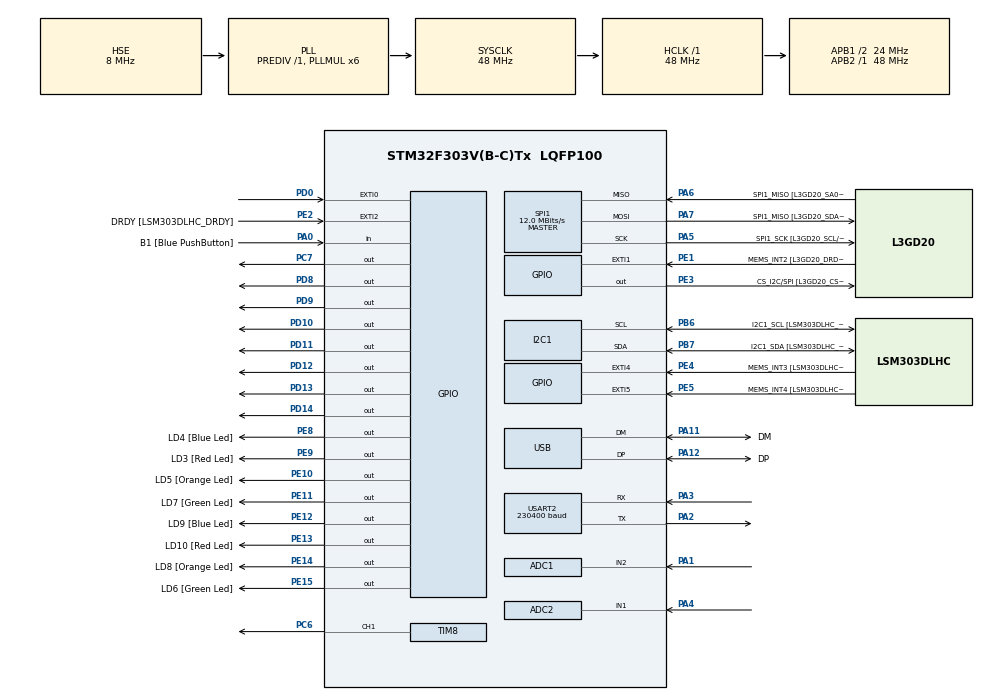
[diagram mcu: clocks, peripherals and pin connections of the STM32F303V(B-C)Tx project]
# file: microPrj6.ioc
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ADC1.Channel-0\#ChannelRegularConversion=ADC_CHANNEL_2
ADC1.ClockPrescaler=ADC_CLOCK_SYNC_PCLK_DIV4
ADC1.NbrOfConversionFlag=1
ADC1.Offset-0\#ChannelRegularConversion=0
ADC1.OffsetNumber-0\#ChannelRegularConversion=ADC_OFFSET_NONE
ADC1.Rank-0\#ChannelRegularConversion=1
ADC1.SamplingTime-0\#ChannelRegularConversion=ADC_SAMPLETIME_601CYCLES_5
ADC1.SamplingTimeOPAMP-0\#ChannelRegularConversion=ADC_SAMPLETIME_19CYCLES_5
ADC1.master=1
ADC2.Channel-0\#ChannelRegularConversion=ADC_CHANNEL_1
ADC2.ClockPrescaler=ADC_CLOCK_SYNC_PCLK_DIV4
ADC2.NbrOfConversionFlag=1
ADC2.Offset-0\#ChannelRegularConversion=0
ADC2.OffsetNumber-0\#ChannelRegularConversion=ADC_OFFSET_NONE
ADC2.Rank-0\#ChannelRegularConversion=1
ADC2.SamplingTime-0\#ChannelRegularConversion=ADC_SAMPLETIME_601CYCLES_5
ADC2.SamplingTimeOPAMP-0\#ChannelRegularConversion=ADC_SAMPLETIME_19CYCLES_5
I2C1.Timing-I2C=0x2000090E
Mcu.Family=STM32F3
Mcu.Name=STM32F303V(B-C)Tx
Mcu.Package=LQFP100
NVIC.ADC1_2_IRQn=true\:1\:0\:true\:false\:true\:true\:true\:true
NVIC.EXTI0_IRQn=true\:1\:0\:true\:false\:true\:true\:true\:true
NVIC.PriorityGroup=NVIC_PRIORITYGROUP_2
NVIC.TIM1_UP_TIM16_IRQn=true\:1\:0\:true\:false\:true\:true\:true\:true
NVIC.TIM4_IRQn=true\:1\:0\:true\:false\:true\:true\:true\:true
NVIC.TIM6_DAC_IRQn=true\:2\:0\:true\:false\:true\:true\:true\:true
NVIC.TIM7_IRQn=true\:1\:0\:true\:false\:true\:true\:true\:true
PA0.GPIO_Label=B1 [Blue PushButton]
PA0.Signal=GPIO_Input
PA1.Mode=IN2-Single-Ended
PA1.Signal=ADC1_IN2
PA11.GPIO_Label=DM
PA11.Mode=Device
PA11.Signal=USB_DM
PA12.GPIO_Label=DP
PA12.Mode=Device
PA12.Signal=USB_DP
PA13.GPIO_Label=SWDIO
PA13.Mode=Serial_Wire
PA13.Signal=SYS_JTMS-SWDIO
PA14.GPIO_Label=SWCLK
PA14.Mode=Serial_Wire
PA14.Signal=SYS_JTCK-SWCLK
PA2.Mode=Asynchronous
PA2.Signal=USART2_TX
PA3.Mode=Asynchronous
PA3.Signal=USART2_RX
PA4.Mode=IN1-Single-Ended
PA4.Signal=ADC2_IN1
PA5.GPIO_Label=SPI1_SCK [L3GD20_SCL/SPC]
PA5.Mode=Full_Duplex_Master
PA5.Signal=SPI1_SCK
PA6.GPIO_Label=SPI1_MISO [L3GD20_SA0/SDO]
PA6.Mode=Full_Duplex_Master
PA6.Signal=SPI1_MISO
PA7.GPIO_Label=SPI1_MISO [L3GD20_SDA/SDI/SDO]
PA7.Mode=Full_Duplex_Master
PA7.Signal=SPI1_MOSI
PB3.GPIO_Label=SWO
PB3.Signal=SYS_JTDO-TRACESWO
PB6.GPIO_Label=I2C1_SCL [LSM303DLHC_SCL]
PB6.GPIO_Pu=GPIO_PULLUP
PB6.Mode=I2C
PB6.Signal=I2C1_SCL
PB7.GPIO_Label=I2C1_SDA [LSM303DLHC_SDA]
PB7.GPIO_Pu=GPIO_PULLUP
PB7.Mode=I2C
PB7.Signal=I2C1_SDA
PC14-OSC32_IN.GPIO_Label=OSC32_IN
PC14-OSC32_IN.Signal=RCC_OSC32_IN
PC15-OSC32_OUT.GPIO_Label=OSC32_OUT
PC15-OSC32_OUT.Signal=RCC_OSC32_OUT
PC6.Signal=S_TIM8_CH1
PC7.Signal=GPIO_Output
PD0.GPIO_PuPd=GPIO_PULLDOWN
PD0.Signal=GPXTI0
PD10.Signal=GPIO_Output
PD11.Signal=GPIO_Output
PD12.Signal=GPIO_Output
PD13.Signal=GPIO_Output
PD14.Signal=GPIO_Output
PD8.Signal=GPIO_Output
PD9.Signal=GPIO_Output
PE1.GPIO_Label=MEMS_INT2 [L3GD20_DRDY/INT2]
PE1.GPIO_ModeDefaultEXTI=GPIO_MODE_EVT_RISING
PE1.Signal=GPXTI1
PE10.GPIO_Label=LD5 [Orange Led]
PE10.Signal=GPIO_Output
PE11.GPIO_Label=LD7 [Green Led]
PE11.Signal=GPIO_Output
PE12.GPIO_Label=LD9 [Blue Led]
PE12.Signal=GPIO_Output
PE13.GPIO_Label=LD10 [Red Led]
PE13.Signal=GPIO_Output
PE14.GPIO_Label=LD8 [Orange Led]
PE14.Signal=GPIO_Output
PE15.GPIO_Label=LD6 [Green Led]
PE15.Signal=GPIO_Output
PE2.GPIO_Label=DRDY [LSM303DLHC_DRDY]
PE2.GPIO_ModeDefaultEXTI=GPIO_MODE_EVT_RISING
PE2.Signal=GPXTI2
PE3.GPIO_Label=CS_I2C/SPI [L3GD20_CS_I2C/SPI]
PE3.Signal=GPIO_Output
PE4.GPIO_Label=MEMS_INT3 [LSM303DLHC_INT1]
PE4.GPIO_ModeDefaultEXTI=GPIO_MODE_EVT_RISING
PE4.Signal=GPXTI4
PE5.GPIO_Label=MEMS_INT4 [LSM303DLHC_INT2]
PE5.GPIO_ModeDefaultEXTI=GPIO_MODE_EVT_RISING
PE5.Signal=GPXTI5
PE8.GPIO_Label=LD4 [Blue Led]
PE8.Signal=GPIO_Output
PE9.GPIO_Label=LD3 [Red Led]
PE9.Signal=GPIO_Output
PF0-OSC_IN.GPIO_Label=OSC_IN
PF0-OSC_IN.Mode=HSE-External-Clock-Source
PF0-OSC_IN.Signal=RCC_OSC_IN
PF1-OSC_OUT.GPIO_Label=OSC_OUT
PF1-OSC_OUT.Signal=RCC_OSC_OUT
ProjectManager.HeapSize=0x200
ProjectManager.StackSize=0x400
ProjectManager.TargetToolchain=STM32CubeIDE
RCC.AHBFreq_Value=48000000
RCC.APB1CLKDivider=RCC_HCLK_DIV2
RCC.APB1Freq_Value=24000000
RCC.APB1TimFreq_Value=48000000
RCC.APB2Freq_Value=48000000
RCC.APB2TimFreq_Value=48000000
RCC.CortexFreq_Value=48000000
RCC.HCLKFreq_Value=48000000
RCC.HSE_VALUE=8000000
RCC.HSI_VALUE=8000000
RCC.LSE_VALUE=32768
RCC.PLLMUL=RCC_PLL_MUL6
RCC.SYSCLKFreq_VALUE=48000000
RCC.SYSCLKSourceVirtual=RCC_SYSCLKSOURCE_PLLCLK
RCC.USBFreq_Value=48000000
RTC.AsynchPrediv=39
RTC.SynchPrediv=999
SH.S_TIM8_CH1.0=TIM8_CH1,PWM Generation1 CH1
SPI1.BaudRatePrescaler=SPI_BAUDRATEPRESCALER_4
SPI1.BaudRatePrescaler-Full_Duplex_Master=SPI_BAUDRATEPRESCALER_2
SPI1.CalculateBaudRate=12.0 MBits/s
SPI1.CalculateBaudRate-Full_Duplex_Master=24.0 MBits/s
SPI1.Direction=SPI_DIRECTION_2LINES
SPI1.Mode=SPI_MODE_MASTER
SPI1.Mode-Full_Duplex_Master=SPI_MODE_MASTER
SPI1.VirtualType=VM_MASTER
TIM16.Period=9999
TIM16.Prescaler=14399
TIM4.Period=14399
TIM4.Prescaler=9999
TIM6.Period=9999
TIM6.Prescaler=47999
TIM7.Period=999
TIM7.Prescaler=47999
TIM8.Channel-PWM\ Generation1\ CH1=TIM_CHANNEL_1
USART2.BaudRate=230400
USART2.VirtualMode-Asynchronous=VM_ASYNC
VP_RTC_VS_RTC_Activate.Mode=RTC_Enabled
VP_RTC_VS_RTC_Calendar.Mode=RTC_Calendar
VP_TIM16_VS_ClockSourceINT.Mode=Enable_Timer
VP_TIM4_VS_ClockSourceINT.Mode=Internal
VP_TIM6_VS_ClockSourceINT.Mode=Enable_Timer
VP_TIM7_VS_ClockSourceINT.Mode=Enable_Timer
VP_TIM8_VS_ClockSourceINT.Mode=Internal
board=STM32F3DISCOVERY

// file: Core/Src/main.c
/* USER CODE BEGIN Header */
/**
 ******************************************************************************
 * @file           : main.c
 * @brief          : Main program body
 ******************************************************************************
 * @attention
 *
 * Copyright (c) 2022 STMicroelectronics.
 * All rights reserved.
 *
 * This software is licensed under terms that can be found in the LICENSE file
 * in the root directory of this software component.
 * If no LICENSE file comes with this software, it is provided AS-IS.
 *
 ******************************************************************************
 */
/* USER CODE END Header */
#include "main.h"

/* USER CODE BEGIN Includes */
#include <stdio.h>
#include <string.h>
#include <stdbool.h>
#include "LiquidCrystal.h"
/* USER CODE END Includes */

/* USER CODE BEGIN PTD */
typedef unsigned char byte;

enum logType {
	lightLow, lightHigh, motion, temperatureRaise
};

typedef struct {
	RTC_DateTypeDef date;
	RTC_TimeTypeDef time;
	enum logType type;

} log;
/* USER CODE END PTD */

/* USER CODE BEGIN PD */
#define LCD_D8 GPIO_PIN_8
#define LCD_D9 GPIO_PIN_9
#define LCD_D10 GPIO_PIN_10
#define LCD_D11 GPIO_PIN_11
#define LCD_D12 GPIO_PIN_12
#define LCD_D13 GPIO_PIN_13
#define LCD_D14 GPIO_PIN_14

/* USER CODE END PD */

/* USER CODE BEGIN PM */
#define LOG_BUFFER_SIZE 100
#define TEMPERATUER_LIGHT_FILTERING_SAMPLE_NUM 128
#define ADC_DELAY 1
/* USER CODE END PM */

ADC_HandleTypeDef hadc1;
ADC_HandleTypeDef hadc2;

I2C_HandleTypeDef hi2c1;

RTC_HandleTypeDef hrtc;

SPI_HandleTypeDef hspi1;

TIM_HandleTypeDef htim4;
TIM_HandleTypeDef htim6;
TIM_HandleTypeDef htim7;
TIM_HandleTypeDef htim8;
TIM_HandleTypeDef htim16;

UART_HandleTypeDef huart2;

PCD_HandleTypeDef hpcd_USB_FS;

/* USER CODE BEGIN PV */

uint_fast16_t temperatureSamplingArr[TEMPERATUER_LIGHT_FILTERING_SAMPLE_NUM];
uint_fast16_t lightSamplingArr[TEMPERATUER_LIGHT_FILTERING_SAMPLE_NUM];

RTC_TimeTypeDef rtcTime;
RTC_DateTypeDef rtcDate;

uint_fast32_t temperatureSamplingIdx = 0;
uint_fast32_t sum = 25 * TEMPERATUER_LIGHT_FILTERING_SAMPLE_NUM;
uint_fast32_t temperatueRawValue, lightRawValue;
uint_fast32_t lastTemperature = 0;
uint_fast32_t newLight = 0;
uint_fast32_t lastLight = 0;
uint_fast32_t newTemperature;
uint_fast32_t normalTemperature;
uint_fast32_t normalLight;
uint_fast32_t temperatureSamplingSum = 25 * TEMPERATUER_LIGHT_FILTERING_SAMPLE_NUM,
		lightSamplingSum = 30 * TEMPERATUER_LIGHT_FILTERING_SAMPLE_NUM;
uint_fast32_t lightSamplingIdx = 0;

bool buzzerOn = false;
bool warning = false;

log logBuffer[LOG_BUFFER_SIZE];
uint_fast32_t logIdx = 0;

TIM_HandleTypeDef *buzzerPwmTimer = &htim8;
uint32_t buzzerPwmChannel = TIM_CHANNEL_1;

byte black[8] = { 0x1F, 0x1F, 0x1F, 0x1F, 0x1F, 0x1F, 0x1F, 0x1F };
byte barEmpty[8] = { 0x1F, 0x00, 0x00, 0x00, 0x00, 0x00, 0x00, 0x1F };
byte barStart[8] = { 0x1F, 0x10, 0x10, 0x10, 0x10, 0x10, 0x10, 0x1F };
byte barEnd[8] = { 0x1F, 0x01, 0x01, 0x01, 0x01, 0x01, 0x01, 0x1F };

byte sunCenter[8] = { 0B00100, 0B01110, 0B10001, 0B10001, 0B10001, 0B01110, 0B00100, 0B00000 };
byte sunShineRight[8] = { 0x08, 0x10, 0x00, 0x1E, 0x00, 0x10, 0x08, 0x00 };
byte sunShineLeft[8] = { 0x02, 0x01, 0x00, 0x0F, 0x00, 0x01, 0x02, 0x00 };

byte thermometer[8] = { 0x00, 0x06, 0x06, 0x06, 0x06, 0x09, 0x09, 0x06 };
byte degree[8] = { 0x00, 0x07, 0x05, 0x07, 0x00, 0x00, 0x00, 0x00 };
/* USER CODE END PV */

void SystemClock_Config(void);
static void MX_GPIO_Init(void);
static void MX_I2C1_Init(void);
static void MX_SPI1_Init(void);
static void MX_USB_PCD_Init(void);
static void MX_RTC_Init(void);
static void MX_USART2_UART_Init(void);
static void MX_TIM6_Init(void);
static void MX_TIM8_Init(void);
static void MX_ADC1_Init(void);
static void MX_ADC2_Init(void);
static void MX_TIM7_Init(void);
static void MX_TIM4_Init(void);
static void MX_TIM16_Init(void);
/* USER CODE BEGIN PFP */
void buzzerChangeTone(uint16_t freq, uint16_t volume);
void printDateTime();
void updateLight();
void updateTemperature();
void warningOn();
void warningOff();
/* USER CODE END PFP */

int main(void) {

	/* MCU Configuration--------------------------------------------------------*/

	/* Reset of all peripherals, Initializes the Flash interface and the Systick. */
	HAL_Init();

	/* Configure the system clock */
	SystemClock_Config();

	/* Initialize all configured peripherals */
	MX_GPIO_Init();
	MX_I2C1_Init();
	MX_SPI1_Init();
	MX_USB_PCD_Init();
	MX_RTC_Init();
	MX_USART2_UART_Init();
	MX_TIM6_Init();
	MX_TIM8_Init();
	MX_ADC1_Init();
	MX_ADC2_Init();
	MX_TIM7_Init();
	MX_TIM4_Init();
	MX_TIM16_Init();
	/* USER CODE BEGIN 2 */

	//__NVIC_DisableIRQ(EXTI0_IRQn);
	rtcTime.Seconds = 0;
	rtcTime.Minutes = 0;
	rtcTime.Hours = 0;

	rtcDate.Year = 0;
	rtcDate.Month = 0;
	rtcDate.Date = 0;

	HAL_RTC_SetTime(&hrtc, &rtcTime, RTC_FORMAT_BIN);
	HAL_RTC_SetDate(&hrtc, &rtcDate, RTC_FORMAT_BIN);

	LiquidCrystal(GPIOD, LCD_D8, LCD_D9, LCD_D10, LCD_D11, LCD_D12, LCD_D13,
	LCD_D14);

	createChar(0, sunShineLeft);
	createChar(1, sunCenter);
	createChar(2, sunShineRight);
	createChar(3, black);
	createChar(4, barEmpty);
	createChar(5, barEnd);
	createChar(6, thermometer);
	createChar(7, degree);

	begin(20, 4);

	write(0);
	write(1);
	write(2);
	setCursor(1, 2);
	write(6);
	setCursor(5, 2);
	write(7);
	write('C');

	HAL_TIM_Base_Start_IT(&htim6);
	HAL_TIM_Base_Start_IT(&htim7);
	HAL_TIM_PWM_Start(buzzerPwmTimer, buzzerPwmChannel);
	HAL_ADC_Start_IT(&hadc1);

	for (int i = 0; i < TEMPERATUER_LIGHT_FILTERING_SAMPLE_NUM; i++) {
		temperatureSamplingArr[i] = 25; //((float) HAL_ADC_GetValue(&hadc1) * 22 / 273);
	}

	for (int i = 0; i < TEMPERATUER_LIGHT_FILTERING_SAMPLE_NUM; i++) {
		lightSamplingArr[i] = 30; //((float) HAL_ADC_GetValue(&hadc1) * 22 / 273);
	}

	/*char tmpp[10];
	 sprintf(tmpp, "%d\n", HAL_GPIO_ReadPin(GPIOD, GPIO_PIN_0));
	 HAL_UART_Transmit(&huart2, (uint8_t*) tmpp, strlen(tmpp), HAL_MAX_DELAY);
	 HAL_Delay(100);
	 */
	/* USER CODE END 2 */

	/* Infinite loop */
	while (1) {

		/* USER CODE BEGIN 3 */
		/*char tmpp[10];
		 sprintf(tmpp, "%d\n", HAL_GPIO_ReadPin(GPIOD, GPIO_PIN_0));
		 HAL_UART_Transmit(&huart2, (uint8_t*) tmpp, strlen(tmpp), HAL_MAX_DELAY);
		 HAL_Delay(100);*/
	}
	/* USER CODE END 3 */
}

void SystemClock_Config(void) {
	RCC_OscInitTypeDef RCC_OscInitStruct = { 0 };
	RCC_ClkInitTypeDef RCC_ClkInitStruct = { 0 };
	RCC_PeriphCLKInitTypeDef PeriphClkInit = { 0 };

	/** Initializes the RCC Oscillators according to the specified parameters
	 * in the RCC_OscInitTypeDef structure.
	 */
	RCC_OscInitStruct.OscillatorType = RCC_OSCILLATORTYPE_HSI | RCC_OSCILLATORTYPE_LSI
			| RCC_OSCILLATORTYPE_HSE;
	RCC_OscInitStruct.HSEState = RCC_HSE_BYPASS;
	RCC_OscInitStruct.HSEPredivValue = RCC_HSE_PREDIV_DIV1;
	RCC_OscInitStruct.HSIState = RCC_HSI_ON;
	RCC_OscInitStruct.HSICalibrationValue = RCC_HSICALIBRATION_DEFAULT;
	RCC_OscInitStruct.LSIState = RCC_LSI_ON;
	RCC_OscInitStruct.PLL.PLLState = RCC_PLL_ON;
	RCC_OscInitStruct.PLL.PLLSource = RCC_PLLSOURCE_HSE;
	RCC_OscInitStruct.PLL.PLLMUL = RCC_PLL_MUL6;
	if (HAL_RCC_OscConfig(&RCC_OscInitStruct) != HAL_OK) {
		Error_Handler();
	}

	/** Initializes the CPU, AHB and APB buses clocks
	 */
	RCC_ClkInitStruct.ClockType = RCC_CLOCKTYPE_HCLK | RCC_CLOCKTYPE_SYSCLK | RCC_CLOCKTYPE_PCLK1
			| RCC_CLOCKTYPE_PCLK2;
	RCC_ClkInitStruct.SYSCLKSource = RCC_SYSCLKSOURCE_PLLCLK;
	RCC_ClkInitStruct.AHBCLKDivider = RCC_SYSCLK_DIV1;
	RCC_ClkInitStruct.APB1CLKDivider = RCC_HCLK_DIV2;
	RCC_ClkInitStruct.APB2CLKDivider = RCC_HCLK_DIV1;

	if (HAL_RCC_ClockConfig(&RCC_ClkInitStruct, FLASH_LATENCY_1) != HAL_OK) {
		Error_Handler();
	}
	PeriphClkInit.PeriphClockSelection = RCC_PERIPHCLK_USB | RCC_PERIPHCLK_USART2
			| RCC_PERIPHCLK_I2C1 | RCC_PERIPHCLK_RTC | RCC_PERIPHCLK_TIM8;
	PeriphClkInit.Usart2ClockSelection = RCC_USART2CLKSOURCE_PCLK1;
	PeriphClkInit.I2c1ClockSelection = RCC_I2C1CLKSOURCE_HSI;
	PeriphClkInit.RTCClockSelection = RCC_RTCCLKSOURCE_LSI;
	PeriphClkInit.USBClockSelection = RCC_USBCLKSOURCE_PLL;
	PeriphClkInit.Tim8ClockSelection = RCC_TIM8CLK_HCLK;
	if (HAL_RCCEx_PeriphCLKConfig(&PeriphClkInit) != HAL_OK) {
		Error_Handler();
	}
}

static void MX_ADC1_Init(void) {

	ADC_MultiModeTypeDef multimode = { 0 };
	ADC_ChannelConfTypeDef sConfig = { 0 };

	/** Common config
	 */
	hadc1.Instance = ADC1;
	hadc1.Init.ClockPrescaler = ADC_CLOCK_SYNC_PCLK_DIV4;
	hadc1.Init.Resolution = ADC_RESOLUTION_12B;
	hadc1.Init.ScanConvMode = ADC_SCAN_DISABLE;
	hadc1.Init.ContinuousConvMode = DISABLE;
	hadc1.Init.DiscontinuousConvMode = DISABLE;
	hadc1.Init.ExternalTrigConvEdge = ADC_EXTERNALTRIGCONVEDGE_NONE;
	hadc1.Init.ExternalTrigConv = ADC_SOFTWARE_START;
	hadc1.Init.DataAlign = ADC_DATAALIGN_RIGHT;
	hadc1.Init.NbrOfConversion = 1;
	hadc1.Init.DMAContinuousRequests = DISABLE;
	hadc1.Init.EOCSelection = ADC_EOC_SINGLE_CONV;
	hadc1.Init.LowPowerAutoWait = DISABLE;
	hadc1.Init.Overrun = ADC_OVR_DATA_OVERWRITTEN;
	if (HAL_ADC_Init(&hadc1) != HAL_OK) {
		Error_Handler();
	}

	/** Configure the ADC multi-mode
	 */
	multimode.Mode = ADC_MODE_INDEPENDENT;
	if (HAL_ADCEx_MultiModeConfigChannel(&hadc1, &multimode) != HAL_OK) {
		Error_Handler();
	}

	/** Configure Regular Channel
	 */
	sConfig.Channel = ADC_CHANNEL_2;
	sConfig.Rank = ADC_REGULAR_RANK_1;
	sConfig.SingleDiff = ADC_SINGLE_ENDED;
	sConfig.SamplingTime = ADC_SAMPLETIME_601CYCLES_5;
	sConfig.OffsetNumber = ADC_OFFSET_NONE;
	sConfig.Offset = 0;
	if (HAL_ADC_ConfigChannel(&hadc1, &sConfig) != HAL_OK) {
		Error_Handler();
	}

}

static void MX_ADC2_Init(void) {

	ADC_ChannelConfTypeDef sConfig = { 0 };

	/** Common config
	 */
	hadc2.Instance = ADC2;
	hadc2.Init.ClockPrescaler = ADC_CLOCK_SYNC_PCLK_DIV4;
	hadc2.Init.Resolution = ADC_RESOLUTION_12B;
	hadc2.Init.ScanConvMode = ADC_SCAN_DISABLE;
	hadc2.Init.ContinuousConvMode = DISABLE;
	hadc2.Init.DiscontinuousConvMode = DISABLE;
	hadc2.Init.ExternalTrigConvEdge = ADC_EXTERNALTRIGCONVEDGE_NONE;
	hadc2.Init.ExternalTrigConv = ADC_SOFTWARE_START;
	hadc2.Init.DataAlign = ADC_DATAALIGN_RIGHT;
	hadc2.Init.NbrOfConversion = 1;
	hadc2.Init.DMAContinuousRequests = DISABLE;
	hadc2.Init.EOCSelection = ADC_EOC_SINGLE_CONV;
	hadc2.Init.LowPowerAutoWait = DISABLE;
	hadc2.Init.Overrun = ADC_OVR_DATA_OVERWRITTEN;
	if (HAL_ADC_Init(&hadc2) != HAL_OK) {
		Error_Handler();
	}

	/** Configure Regular Channel
	 */
	sConfig.Channel = ADC_CHANNEL_1;
	sConfig.Rank = ADC_REGULAR_RANK_1;
	sConfig.SingleDiff = ADC_SINGLE_ENDED;
	sConfig.SamplingTime = ADC_SAMPLETIME_601CYCLES_5;
	sConfig.OffsetNumber = ADC_OFFSET_NONE;
	sConfig.Offset = 0;
	if (HAL_ADC_ConfigChannel(&hadc2, &sConfig) != HAL_OK) {
		Error_Handler();
	}

}

static void MX_I2C1_Init(void) {

	hi2c1.Instance = I2C1;
	hi2c1.Init.Timing = 0x2000090E;
	hi2c1.Init.OwnAddress1 = 0;
	hi2c1.Init.AddressingMode = I2C_ADDRESSINGMODE_7BIT;
	hi2c1.Init.DualAddressMode = I2C_DUALADDRESS_DISABLE;
	hi2c1.Init.OwnAddress2 = 0;
	hi2c1.Init.OwnAddress2Masks = I2C_OA2_NOMASK;
	hi2c1.Init.GeneralCallMode = I2C_GENERALCALL_DISABLE;
	hi2c1.Init.NoStretchMode = I2C_NOSTRETCH_DISABLE;
	if (HAL_I2C_Init(&hi2c1) != HAL_OK) {
		Error_Handler();
	}

	/** Configure Analogue filter
	 */
	if (HAL_I2CEx_ConfigAnalogFilter(&hi2c1, I2C_ANALOGFILTER_ENABLE) != HAL_OK) {
		Error_Handler();
	}

	/** Configure Digital filter
	 */
	if (HAL_I2CEx_ConfigDigitalFilter(&hi2c1, 0) != HAL_OK) {
		Error_Handler();
	}

}

static void MX_RTC_Init(void) {

	RTC_TimeTypeDef sTime = { 0 };
	RTC_DateTypeDef sDate = { 0 };

	/** Initialize RTC Only
	 */
	hrtc.Instance = RTC;
	hrtc.Init.HourFormat = RTC_HOURFORMAT_24;
	hrtc.Init.AsynchPrediv = 39;
	hrtc.Init.SynchPrediv = 999;
	hrtc.Init.OutPut = RTC_OUTPUT_DISABLE;
	hrtc.Init.OutPutPolarity = RTC_OUTPUT_POLARITY_HIGH;
	hrtc.Init.OutPutType = RTC_OUTPUT_TYPE_OPENDRAIN;
	if (HAL_RTC_Init(&hrtc) != HAL_OK) {
		Error_Handler();
	}

	/** Initialize RTC and set the Time and Date
	 */
	sTime.Hours = 0x0;
	sTime.Minutes = 0x0;
	sTime.Seconds = 0x0;
	sTime.DayLightSaving = RTC_DAYLIGHTSAVING_NONE;
	sTime.StoreOperation = RTC_STOREOPERATION_RESET;
	if (HAL_RTC_SetTime(&hrtc, &sTime, RTC_FORMAT_BCD) != HAL_OK) {
		Error_Handler();
	}
	sDate.WeekDay = RTC_WEEKDAY_MONDAY;
	sDate.Month = RTC_MONTH_JANUARY;
	sDate.Date = 0x1;
	sDate.Year = 0x0;

	if (HAL_RTC_SetDate(&hrtc, &sDate, RTC_FORMAT_BCD) != HAL_OK) {
		Error_Handler();
	}

}

static void MX_SPI1_Init(void) {

	/* SPI1 parameter configuration*/
	hspi1.Instance = SPI1;
	hspi1.Init.Mode = SPI_MODE_MASTER;
	hspi1.Init.Direction = SPI_DIRECTION_2LINES;
	hspi1.Init.DataSize = SPI_DATASIZE_4BIT;
	hspi1.Init.CLKPolarity = SPI_POLARITY_LOW;
	hspi1.Init.CLKPhase = SPI_PHASE_1EDGE;
	hspi1.Init.NSS = SPI_NSS_SOFT;
	hspi1.Init.BaudRatePrescaler = SPI_BAUDRATEPRESCALER_4;
	hspi1.Init.FirstBit = SPI_FIRSTBIT_MSB;
	hspi1.Init.TIMode = SPI_TIMODE_DISABLE;
	hspi1.Init.CRCCalculation = SPI_CRCCALCULATION_DISABLE;
	hspi1.Init.CRCPolynomial = 7;
	hspi1.Init.CRCLength = SPI_CRC_LENGTH_DATASIZE;
	hspi1.Init.NSSPMode = SPI_NSS_PULSE_ENABLE;
	if (HAL_SPI_Init(&hspi1) != HAL_OK) {
		Error_Handler();
	}

}

static void MX_TIM4_Init(void) {

	TIM_ClockConfigTypeDef sClockSourceConfig = { 0 };
	TIM_MasterConfigTypeDef sMasterConfig = { 0 };

	htim4.Instance = TIM4;
	htim4.Init.Prescaler = 9999;
	htim4.Init.CounterMode = TIM_COUNTERMODE_UP;
	htim4.Init.Period = 14399;
	htim4.Init.ClockDivision = TIM_CLOCKDIVISION_DIV1;
	htim4.Init.AutoReloadPreload = TIM_AUTORELOAD_PRELOAD_DISABLE;
	if (HAL_TIM_Base_Init(&htim4) != HAL_OK) {
		Error_Handler();
	}
	sClockSourceConfig.ClockSource = TIM_CLOCKSOURCE_INTERNAL;
	if (HAL_TIM_ConfigClockSource(&htim4, &sClockSourceConfig) != HAL_OK) {
		Error_Handler();
	}
	sMasterConfig.MasterOutputTrigger = TIM_TRGO_RESET;
	sMasterConfig.MasterSlaveMode = TIM_MASTERSLAVEMODE_DISABLE;
	if (HAL_TIMEx_MasterConfigSynchronization(&htim4, &sMasterConfig) != HAL_OK) {
		Error_Handler();
	}
	/* USER CODE BEGIN TIM4_Init 2 */
	htim4.Instance->SR = 0;				// for timer to work properly form first time triggered
	/* USER CODE END TIM4_Init 2 */

}

static void MX_TIM6_Init(void) {

	TIM_MasterConfigTypeDef sMasterConfig = { 0 };

	htim6.Instance = TIM6;
	htim6.Init.Prescaler = 47999;
	htim6.Init.CounterMode = TIM_COUNTERMODE_UP;
	htim6.Init.Period = 9999;
	htim6.Init.AutoReloadPreload = TIM_AUTORELOAD_PRELOAD_DISABLE;
	if (HAL_TIM_Base_Init(&htim6) != HAL_OK) {
		Error_Handler();
	}
	sMasterConfig.MasterOutputTrigger = TIM_TRGO_RESET;
	sMasterConfig.MasterSlaveMode = TIM_MASTERSLAVEMODE_DISABLE;
	if (HAL_TIMEx_MasterConfigSynchronization(&htim6, &sMasterConfig) != HAL_OK) {
		Error_Handler();
	}

}

static void MX_TIM7_Init(void) {

	TIM_MasterConfigTypeDef sMasterConfig = { 0 };

	htim7.Instance = TIM7;
	htim7.Init.Prescaler = 47999;
	htim7.Init.CounterMode = TIM_COUNTERMODE_UP;
	htim7.Init.Period = 999;
	htim7.Init.AutoReloadPreload = TIM_AUTORELOAD_PRELOAD_DISABLE;
	if (HAL_TIM_Base_Init(&htim7) != HAL_OK) {
		Error_Handler();
	}
	sMasterConfig.MasterOutputTrigger = TIM_TRGO_RESET;
	sMasterConfig.MasterSlaveMode = TIM_MASTERSLAVEMODE_DISABLE;
	if (HAL_TIMEx_MasterConfigSynchronization(&htim7, &sMasterConfig) != HAL_OK) {
		Error_Handler();
	}

}

static void MX_TIM8_Init(void) {

	TIM_ClockConfigTypeDef sClockSourceConfig = { 0 };
	TIM_MasterConfigTypeDef sMasterConfig = { 0 };
	TIM_OC_InitTypeDef sConfigOC = { 0 };
	TIM_BreakDeadTimeConfigTypeDef sBreakDeadTimeConfig = { 0 };

	htim8.Instance = TIM8;
	htim8.Init.Prescaler = 0;
	htim8.Init.CounterMode = TIM_COUNTERMODE_UP;
	htim8.Init.Period = 65535;
	htim8.Init.ClockDivision = TIM_CLOCKDIVISION_DIV1;
	htim8.Init.RepetitionCounter = 0;
	htim8.Init.AutoReloadPreload = TIM_AUTORELOAD_PRELOAD_DISABLE;
	if (HAL_TIM_Base_Init(&htim8) != HAL_OK) {
		Error_Handler();
	}
	sClockSourceConfig.ClockSource = TIM_CLOCKSOURCE_INTERNAL;
	if (HAL_TIM_ConfigClockSource(&htim8, &sClockSourceConfig) != HAL_OK) {
		Error_Handler();
	}
	if (HAL_TIM_PWM_Init(&htim8) != HAL_OK) {
		Error_Handler();
	}
	sMasterConfig.MasterOutputTrigger = TIM_TRGO_RESET;
	sMasterConfig.MasterOutputTrigger2 = TIM_TRGO2_RESET;
	sMasterConfig.MasterSlaveMode = TIM_MASTERSLAVEMODE_DISABLE;
	if (HAL_TIMEx_MasterConfigSynchronization(&htim8, &sMasterConfig) != HAL_OK) {
		Error_Handler();
	}
	sConfigOC.OCMode = TIM_OCMODE_PWM1;
	sConfigOC.Pulse = 0;
	sConfigOC.OCPolarity = TIM_OCPOLARITY_HIGH;
	sConfigOC.OCNPolarity = TIM_OCNPOLARITY_HIGH;
	sConfigOC.OCFastMode = TIM_OCFAST_DISABLE;
	sConfigOC.OCIdleState = TIM_OCIDLESTATE_RESET;
	sConfigOC.OCNIdleState = TIM_OCNIDLESTATE_RESET;
	if (HAL_TIM_PWM_ConfigChannel(&htim8, &sConfigOC, TIM_CHANNEL_1) != HAL_OK) {
		Error_Handler();
	}
	sBreakDeadTimeConfig.OffStateRunMode = TIM_OSSR_DISABLE;
	sBreakDeadTimeConfig.OffStateIDLEMode = TIM_OSSI_DISABLE;
	sBreakDeadTimeConfig.LockLevel = TIM_LOCKLEVEL_OFF;
	sBreakDeadTimeConfig.DeadTime = 0;
	sBreakDeadTimeConfig.BreakState = TIM_BREAK_DISABLE;
	sBreakDeadTimeConfig.BreakPolarity = TIM_BREAKPOLARITY_HIGH;
	sBreakDeadTimeConfig.BreakFilter = 0;
	sBreakDeadTimeConfig.Break2State = TIM_BREAK2_DISABLE;
	sBreakDeadTimeConfig.Break2Polarity = TIM_BREAK2POLARITY_HIGH;
	sBreakDeadTimeConfig.Break2Filter = 0;
	sBreakDeadTimeConfig.AutomaticOutput = TIM_AUTOMATICOUTPUT_DISABLE;
	if (HAL_TIMEx_ConfigBreakDeadTime(&htim8, &sBreakDeadTimeConfig) != HAL_OK) {
		Error_Handler();
	}
	HAL_TIM_MspPostInit(&htim8);

}

static void MX_TIM16_Init(void) {

	htim16.Instance = TIM16;
	htim16.Init.Prescaler = 14399;
	htim16.Init.CounterMode = TIM_COUNTERMODE_UP;
	htim16.Init.Period = 9999;
	htim16.Init.ClockDivision = TIM_CLOCKDIVISION_DIV1;
	htim16.Init.RepetitionCounter = 0;
	htim16.Init.AutoReloadPreload = TIM_AUTORELOAD_PRELOAD_DISABLE;
	if (HAL_TIM_Base_Init(&htim16) != HAL_OK) {
		Error_Handler();
	}

}

static void MX_USART2_UART_Init(void) {

	huart2.Instance = USART2;
	huart2.Init.BaudRate = 230400;
	huart2.Init.WordLength = UART_WORDLENGTH_8B;
	huart2.Init.StopBits = UART_STOPBITS_1;
	huart2.Init.Parity = UART_PARITY_NONE;
	huart2.Init.Mode = UART_MODE_TX_RX;
	huart2.Init.HwFlowCtl = UART_HWCONTROL_NONE;
	huart2.Init.OverSampling = UART_OVERSAMPLING_16;
	huart2.Init.OneBitSampling = UART_ONE_BIT_SAMPLE_DISABLE;
	huart2.AdvancedInit.AdvFeatureInit = UART_ADVFEATURE_NO_INIT;
	if (HAL_UART_Init(&huart2) != HAL_OK) {
		Error_Handler();
	}

}

static void MX_USB_PCD_Init(void) {

	hpcd_USB_FS.Instance = USB;
	hpcd_USB_FS.Init.dev_endpoints = 8;
	hpcd_USB_FS.Init.speed = PCD_SPEED_FULL;
	hpcd_USB_FS.Init.phy_itface = PCD_PHY_EMBEDDED;
	hpcd_USB_FS.Init.low_power_enable = DISABLE;
	hpcd_USB_FS.Init.battery_charging_enable = DISABLE;
	if (HAL_PCD_Init(&hpcd_USB_FS) != HAL_OK) {
		Error_Handler();
	}

}

static void MX_GPIO_Init(void) {
	GPIO_InitTypeDef GPIO_InitStruct = { 0 };

	/* GPIO Ports Clock Enable */
	__HAL_RCC_GPIOE_CLK_ENABLE();
	__HAL_RCC_GPIOC_CLK_ENABLE();
	__HAL_RCC_GPIOF_CLK_ENABLE();
	__HAL_RCC_GPIOA_CLK_ENABLE();
	__HAL_RCC_GPIOD_CLK_ENABLE();
	__HAL_RCC_GPIOB_CLK_ENABLE();

	/*Configure GPIO pin Output Level */
	HAL_GPIO_WritePin(GPIOE,
	CS_I2C_SPI_Pin | LD4_Pin | LD3_Pin | LD5_Pin | LD7_Pin | LD9_Pin | LD10_Pin | LD8_Pin | LD6_Pin,
			GPIO_PIN_RESET);

	/*Configure GPIO pin Output Level */
	HAL_GPIO_WritePin(GPIOD,
	GPIO_PIN_8 | GPIO_PIN_9 | GPIO_PIN_10 | GPIO_PIN_11 | GPIO_PIN_12 | GPIO_PIN_13 | GPIO_PIN_14,
			GPIO_PIN_RESET);

	/*Configure GPIO pin Output Level */
	HAL_GPIO_WritePin(GPIOC, GPIO_PIN_7, GPIO_PIN_RESET);

	/*Configure GPIO pins : DRDY_Pin MEMS_INT3_Pin MEMS_INT4_Pin MEMS_INT2_Pin */
	GPIO_InitStruct.Pin = DRDY_Pin | MEMS_INT3_Pin | MEMS_INT4_Pin | MEMS_INT2_Pin;
	GPIO_InitStruct.Mode = GPIO_MODE_EVT_RISING;
	GPIO_InitStruct.Pull = GPIO_NOPULL;
	HAL_GPIO_Init(GPIOE, &GPIO_InitStruct);

	/*Configure GPIO pins : CS_I2C_SPI_Pin LD4_Pin LD3_Pin LD5_Pin
	 LD7_Pin LD9_Pin LD10_Pin LD8_Pin
	 LD6_Pin */
	GPIO_InitStruct.Pin = CS_I2C_SPI_Pin | LD4_Pin | LD3_Pin | LD5_Pin | LD7_Pin | LD9_Pin
			| LD10_Pin | LD8_Pin | LD6_Pin;
	GPIO_InitStruct.Mode = GPIO_MODE_OUTPUT_PP;
	GPIO_InitStruct.Pull = GPIO_NOPULL;
	GPIO_InitStruct.Speed = GPIO_SPEED_FREQ_LOW;
	HAL_GPIO_Init(GPIOE, &GPIO_InitStruct);

	/*Configure GPIO pin : B1_Pin */
	GPIO_InitStruct.Pin = B1_Pin;
	GPIO_InitStruct.Mode = GPIO_MODE_INPUT;
	GPIO_InitStruct.Pull = GPIO_NOPULL;
	HAL_GPIO_Init(B1_GPIO_Port, &GPIO_InitStruct);

	/*Configure GPIO pins : PD8 PD9 PD10 PD11
	 PD12 PD13 PD14 */
	GPIO_InitStruct.Pin = GPIO_PIN_8 | GPIO_PIN_9 | GPIO_PIN_10 | GPIO_PIN_11 | GPIO_PIN_12
			| GPIO_PIN_13 | GPIO_PIN_14;
	GPIO_InitStruct.Mode = GPIO_MODE_OUTPUT_PP;
	GPIO_InitStruct.Pull = GPIO_NOPULL;
	GPIO_InitStruct.Speed = GPIO_SPEED_FREQ_LOW;
	HAL_GPIO_Init(GPIOD, &GPIO_InitStruct);

	/*Configure GPIO pin : PC7 */
	GPIO_InitStruct.Pin = GPIO_PIN_7;
	GPIO_InitStruct.Mode = GPIO_MODE_OUTPUT_PP;
	GPIO_InitStruct.Pull = GPIO_NOPULL;
	GPIO_InitStruct.Speed = GPIO_SPEED_FREQ_LOW;
	HAL_GPIO_Init(GPIOC, &GPIO_InitStruct);

	/*Configure GPIO pin : PD0 */
	GPIO_InitStruct.Pin = GPIO_PIN_0;
	GPIO_InitStruct.Mode = GPIO_MODE_IT_RISING;
	GPIO_InitStruct.Pull = GPIO_PULLDOWN;
	HAL_GPIO_Init(GPIOD, &GPIO_InitStruct);

	/* EXTI interrupt init*/
	HAL_NVIC_SetPriority(EXTI0_IRQn, 1, 0);
	HAL_NVIC_EnableIRQ(EXTI0_IRQn);

}

/* USER CODE BEGIN 4 */
void HAL_GPIO_EXTI_Callback(uint16_t GPIO_Pin) {
	if (GPIO_Pin == GPIO_PIN_0) {
		if (warning)
			return;

		HAL_RTC_GetTime(&hrtc, &rtcTime, RTC_FORMAT_BIN);
		HAL_RTC_GetDate(&hrtc, &rtcDate, RTC_FORMAT_BIN);

		if (logIdx < LOG_BUFFER_SIZE)
			logBuffer[logIdx++] = (log ) { rtcDate, rtcTime, motion };

		if (!warning) {
			HAL_ADC_Stop_IT(&hadc1);
			HAL_ADC_Stop_IT(&hadc2);
			warningOn();
			warning = true;
			HAL_TIM_Base_Start_IT(&htim4);
		}
	}
}

log logCache;
char tmpStrUart[56];
void HAL_TIM_PeriodElapsedCallback(TIM_HandleTypeDef *htim) {
	if (htim->Instance == TIM6) {
		if (logIdx > 0) {
			for (int i = 0; i < logIdx; i++) {
				logCache = logBuffer[i];
				switch (logCache.type) {
				case motion:
					sprintf(tmpStrUart,
							"Motion detected! --- %02d\\%02d\\%02d - %02d:%02d:%02d      \n- - - -\n",
							logCache.date.Year, logCache.date.Month, logCache.date.Date,
							logCache.time.Hours, logCache.time.Minutes, logCache.time.Seconds);
					break;
				case temperatureRaise:
					sprintf(tmpStrUart,
							"Temperature Increased! --- %02d\\%02d\\%02d - %02d:%02d:%02d\n- - - -\n",
							logCache.date.Year, logCache.date.Month, logCache.date.Date,
							logCache.time.Hours, logCache.time.Minutes, logCache.time.Seconds);
					break;
				case lightHigh:
					sprintf(tmpStrUart,
							"Light is over 80%%! --- %02d\\%02d\\%02d - %02d:%02d:%02d    \n- - - -\n",
							logCache.date.Year, logCache.date.Month, logCache.date.Date,
							logCache.time.Hours, logCache.time.Minutes, logCache.time.Seconds);
					break;
				case lightLow:
					sprintf(tmpStrUart,
							"Light is under 20%%! --- %02d\\%02d\\%02d - %02d:%02d:%02d   \n- - - -\n",
							logCache.date.Year, logCache.date.Month, logCache.date.Date,
							logCache.time.Hours, logCache.time.Minutes, logCache.time.Seconds);
					break;
				}
				HAL_UART_Transmit(&huart2, (uint8_t*) tmpStrUart, 55, HAL_MAX_DELAY);
			}
			logIdx = 0;
		}
	} else if (htim->Instance == TIM7) {
		printDateTime();
	} else if (htim->Instance == TIM4) {
		warningOff();
		warning = false;
		HAL_TIM_Base_Stop_IT(&htim4);
		if (!buzzerOn)
			HAL_ADC_Start_IT(&hadc1);
	} else if (htim->Instance == TIM16) {
		buzzerChangeTone(1000, 0);
		HAL_Delay(50);
		buzzerOn = false;
		HAL_TIM_Base_Stop_IT(&htim16);
		if (!warning)
			HAL_ADC_Start_IT(&hadc1); // only this line for fixing ADC not starting again after temperature raise
	}
}

void HAL_ADC_ConvCpltCallback(ADC_HandleTypeDef *hadc) {
	if (hadc->Instance == ADC1) { // lastTemperature
		if (buzzerOn)
		return;

		/*char tmpp[50];
		 sprintf(tmpp, "temperature ADC begin : %lu\n", HAL_GetTick());
		 HAL_UART_Transmit(&huart2, (uint8_t*) tmpp, strlen(tmpp), HAL_MAX_DELAY);
		 */
		temperatueRawValue = HAL_ADC_GetValue(hadc);

		char tmpp[50];
		sprintf(tmpp, "%d\n", temperatueRawValue);
		HAL_UART_Transmit(&huart2, (uint8_t*) tmpp, strlen(tmpp), HAL_MAX_DELAY);

		normalTemperature = ((float) temperatueRawValue * 22 / 273);

		temperatureSamplingSum += (normalTemperature
				- temperatureSamplingArr[temperatureSamplingIdx]);

		temperatureSamplingArr[temperatureSamplingIdx] = normalTemperature;

		//if (temperatureSamplingIdx == 0) {
			newTemperature = temperatureSamplingSum >> 7;

			if (newTemperature > lastTemperature) {
				HAL_RTC_GetTime(&hrtc, &rtcTime, RTC_FORMAT_BIN);
				HAL_RTC_GetDate(&hrtc, &rtcDate, RTC_FORMAT_BIN);
				if (logIdx < LOG_BUFFER_SIZE)
					logBuffer[logIdx++] = (log ) { rtcDate, rtcTime, temperatureRaise };
				if (!buzzerOn) {
					buzzerChangeTone(1000, 1000);
					buzzerOn = true;
					HAL_TIM_Base_Start_IT(&htim16);
				}
			}
			updateTemperature();
		//}

		temperatureSamplingIdx = (temperatureSamplingIdx + 1)
				% TEMPERATUER_LIGHT_FILTERING_SAMPLE_NUM;

		if (!buzzerOn)
		HAL_ADC_Start_IT(&hadc2);

	} else if (hadc->Instance == ADC2) { // light

		lightRawValue = HAL_ADC_GetValue(hadc);

		normalLight = (float) (lightRawValue / 5);	// simplified of (x - 0) * 100 / (600 - 0)

		lightSamplingSum += normalLight - lightSamplingArr[lightSamplingIdx];

		lightSamplingArr[lightSamplingIdx] = normalLight;

		//if (lightSamplingIdx == 0) {
			newLight = lightSamplingSum >> 7;
			newLight = newLight > 100 ? 100 : newLight;
			if (newLight > 80) {
				HAL_RTC_GetTime(&hrtc, &rtcTime, RTC_FORMAT_BIN);
				HAL_RTC_GetDate(&hrtc, &rtcDate, RTC_FORMAT_BIN);
				if (logIdx < LOG_BUFFER_SIZE)
					logBuffer[logIdx++] = (log ) { rtcDate, rtcTime, lightHigh };
			} else if (newLight < 20) {
				HAL_RTC_GetTime(&hrtc, &rtcTime, RTC_FORMAT_BIN);
				HAL_RTC_GetDate(&hrtc, &rtcDate, RTC_FORMAT_BIN);
				if (logIdx < LOG_BUFFER_SIZE)
					logBuffer[logIdx++] = (log ) { rtcDate, rtcTime, lightLow };
			}
			updateLight();
		//}
		/*
		 if (lightSamplingIdx == TEMPERATUER_LIGHT_FILTERING_SAMPLE_NUM) {
		 newLight = lightSamplingSum / TEMPERATUER_LIGHT_FILTERING_SAMPLE_NUM;
		 newLight = newLight > 100 ? 100 : newLight;
		 lightSamplingIdx = 0;
		 lightSamplingSum = 0;
		 updateLight();
		 if (newLight > 80) {
		 HAL_RTC_GetTime(&hrtc, &rtcTime, RTC_FORMAT_BIN);
		 HAL_RTC_GetDate(&hrtc, &rtcDate, RTC_FORMAT_BIN);
		 if (logIdx < LOG_BUFFER_SIZE)
		 logBuffer[logIdx++] = (log ) { rtcDate, rtcTime, lightHigh };
		 } else if (newLight < 20) {
		 HAL_RTC_GetTime(&hrtc, &rtcTime, RTC_FORMAT_BIN);
		 HAL_RTC_GetDate(&hrtc, &rtcDate, RTC_FORMAT_BIN);
		 if (logIdx < LOG_BUFFER_SIZE)
		 logBuffer[logIdx++] = (log ) { rtcDate, rtcTime, lightLow };
		 }
		 }
		 */
		lightSamplingIdx = (lightSamplingIdx + 1) % TEMPERATUER_LIGHT_FILTERING_SAMPLE_NUM;

		HAL_ADC_Start_IT(&hadc1);

		/*sprintf(tmpp, "light ADC end : %lu\n", HAL_GetTick());
		 HAL_UART_Transmit(&huart2, (uint8_t*) tmpp, strlen(tmpp), HAL_MAX_DELAY);*/
	}
}

char tmpStrDateTime[17];
void printDateTime() {
	HAL_RTC_GetTime(&hrtc, &rtcTime, RTC_FORMAT_BIN);
	HAL_RTC_GetDate(&hrtc, &rtcDate, RTC_FORMAT_BIN);

	sprintf(tmpStrDateTime, "%d/%d/%d - %02d:%02d:%02d", rtcDate.Year, rtcDate.Month, rtcDate.Date,
			rtcTime.Hours, rtcTime.Minutes, rtcTime.Seconds);
	setCursor(2, 3);
	print(tmpStrDateTime);

}

char tmpStrLight[3];
void updateLight() {
	if (newLight == lastLight)
		return;

	sprintf(tmpStrLight, "%d%%", newLight < 100 ? newLight : 100);
	setCursor(15, 0);
	print(tmpStrLight);

	if (newLight / 10 == lastLight / 10)
		return;

	if (newLight < 10) {
		setCursor(17, 0);
		print(" ");
		createChar(3, barStart);
		setCursor(3, 0);
		write(3);
	} else {
		createChar(3, black);
		setCursor(3, 0);
		write(3);
	}

	if (lastLight == 100) {
		setCursor(18, 0);
		print(" ");
	}

	for (int i = 4; i < 12; i++) {
		if (i - 2 <= newLight / 10) {
			setCursor(i, 0);
			write(3);
		} else {
			setCursor(i, 0);
			write(4);
		}
	}

	if (newLight >= 100) {
		setCursor(12, 0);
		write(3);
	} else {
		setCursor(12, 0);
		write(5);
	}

	lastLight = newLight;
	HAL_Delay(50);
}

char tmpStrTemp[3];
void updateTemperature() {
	if (newTemperature == lastTemperature)
		return;

	sprintf(tmpStrTemp, "%02d", newTemperature);
	setCursor(3, 2);
	print(tmpStrTemp);

	lastTemperature = newTemperature;
}

void warningOn() {
	setCursor(9, 2);
	print("MOTION!!!");
	HAL_GPIO_WritePin(GPIOC, GPIO_PIN_7, 1);
	//HAL_Delay(50);
}
void warningOff() {
	setCursor(9, 2);
	print("         ");
	HAL_GPIO_WritePin(GPIOC, GPIO_PIN_7, 0);
	//HAL_Delay(50);
}

void buzzerChangeTone(uint16_t freq, uint16_t volume) {
	if (freq == 0 || freq > 20000) {
		__HAL_TIM_SET_COMPARE(buzzerPwmTimer, buzzerPwmChannel, 0);
	} else {
		const uint32_t internalClockFreq = HAL_RCC_GetSysClockFreq();
		const uint32_t prescaler = 1 + internalClockFreq / freq / 60000;
		const uint32_t timerClock = internalClockFreq / prescaler;
		const uint32_t periodCycles = timerClock / freq;
		const uint32_t pulseWidth = volume * periodCycles / 1000 / 2;

		buzzerPwmTimer->Instance->PSC = prescaler - 1;
		buzzerPwmTimer->Instance->ARR = periodCycles - 1;
		buzzerPwmTimer->Instance->EGR = TIM_EGR_UG;

		__HAL_TIM_SET_COMPARE(buzzerPwmTimer, buzzerPwmChannel, pulseWidth);
	}
}

/* USER CODE END 4 */

void Error_Handler(void) {
	__disable_irq();
	while (1) {
	}
}
